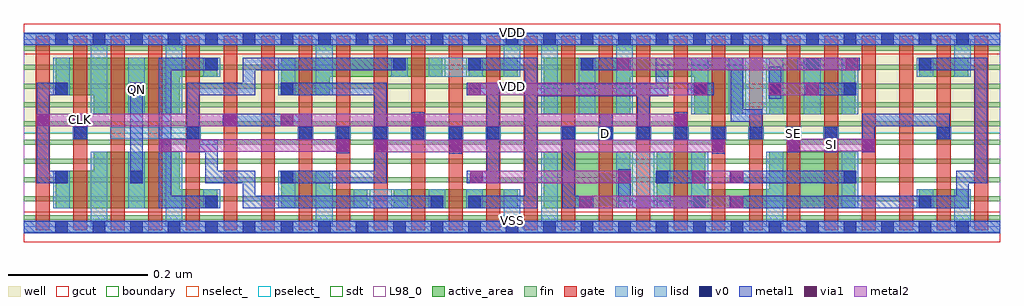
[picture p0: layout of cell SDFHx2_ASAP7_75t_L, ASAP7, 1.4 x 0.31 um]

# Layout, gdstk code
import gdstk
lib = gdstk.Library(unit=1e-6, precision=2.5e-10)
def R(c, l, rs):  # rectangles x0, y0, x1, y1
    for r in rs: c.add(gdstk.rectangle(r[:2], r[2:], *l))
def A(c, l, x, y, w, h, nx, ny, dx, dy):  # array of equal rectangles
    R(c, l, [(x+i*dx, y+j*dy, x+i*dx+w, y+j*dy+h) for i in range(nx) for j in range(ny)])
def P(c, l, *ps):  # polygons
    for p in ps: c.add(gdstk.Polygon(p, *l))
well = (1, 0)
fin = (2, 0)
gate = (7, 0)
gcut = (10, 0)
active_area = (11, 0)
nselect_ = (12, 0)
pselect_ = (13, 0)
lig = (16, 0)
lisd = (17, 0)
v0 = (18, 0)
metal1 = (19, 0)
metal2 = (20, 0)
via1 = (21, 0)
sdt = (88, 0)
L98_0 = (98, 0)
boundary = (100, 0)

sdfhx2_asap7_75t_l = lib.new_cell('SDFHx2_ASAP7_75t_L')
R(sdfhx2_asap7_75t_l, well, [(0,0.135,1.404,0.27)])
A(sdfhx2_asap7_75t_l, fin, 0, 0.01, 1.404, 0.007, 1, 10, 0, 0.027)
A(sdfhx2_asap7_75t_l, gate, 0.017, -0.005, 0.02, 0.28, 26, 1, 0.054, 0)
R(sdfhx2_asap7_75t_l, gcut, [(0,-0.022,1.404,0.022), (0,0.248,1.404,0.292)])
R(sdfhx2_asap7_75t_l, active_area, [(0.532,0.027,0.71,0.054), (0.748,0.027,0.872,0.108), (1.288,0.027,1.358,0.054), (1.072,0.162,1.196,0.243), (0.64,0.216,0.71,0.243), (1.288,0.216,1.358,0.243)])
P(sdfhx2_asap7_75t_l, active_area, [(0.046,0.027),(0.046,0.081),(0.1,0.081),(0.1,0.108),(0.224,0.108),(0.224,0.054),(0.278,0.054),(0.278,0.027)],
  [(0.37,0.027),(0.37,0.081),(0.44,0.081),(0.44,0.054),(0.494,0.054),(0.494,0.027)],
  [(0.91,0.027),(0.91,0.108),(0.98,0.108),(0.98,0.054),(1.072,0.054),(1.072,0.108),(1.196,0.108),(1.196,0.027)],
  [(0.1,0.162),(0.1,0.189),(0.046,0.189),(0.046,0.243),(0.278,0.243),(0.278,0.216),(0.224,0.216),(0.224,0.162)],
  [(0.37,0.189),(0.37,0.243),(0.602,0.243),(0.602,0.216),(0.44,0.216),(0.44,0.189)],
  [(0.748,0.162),(0.748,0.243),(1.034,0.243),(1.034,0.162),(0.964,0.162),(0.964,0.216),(0.872,0.216),(0.872,0.162)])
R(sdfhx2_asap7_75t_l, nselect_, [(0,0,1.404,0.135)])
R(sdfhx2_asap7_75t_l, pselect_, [(0,0.135,1.404,0.27)])
A(sdfhx2_asap7_75t_l, lig, 0.07, 0.126, 0.022, 0.018, 3, 1, 0.162, 0)
A(sdfhx2_asap7_75t_l, lig, 0.448, 0.126, 0.022, 0.018, 5, 1, 0.054, 0)
A(sdfhx2_asap7_75t_l, lig, 0.772, 0.126, 0.022, 0.018, 8, 1, 0.054, 0)
R(sdfhx2_asap7_75t_l, lig, [(0,-0.008,1.404,0.008), (1.312,0.126,1.334,0.144), (0.124,0.127,0.254,0.143), (0,0.262,1.404,0.278)])
A(sdfhx2_asap7_75t_l, lisd, 1.068, 0.162, 0.024, 0.081, 3, 1, 0.054, 0)
R(sdfhx2_asap7_75t_l, lisd, [(0.096,0,0.12,0.108), (0.096,0,0.12,0.108), (0.204,0,0.228,0.108), (0.42,0,0.444,0.081), (0.69,0,0.714,0.054), (0.744,0,0.768,0.108), (0.744,0,0.768,0.108), (1.068,0,1.092,0.108), (1.068,0,1.092,0.108), (1.338,0,1.362,0.054), (0.042,0.027,0.066,0.081), (0.15,0.027,0.174,0.108), (0.258,0.027,0.282,0.054), (0.366,0.027,0.39,0.081), (0.474,0.027,0.552,0.054), (0.582,0.027,0.606,0.054), (0.636,0.027,0.66,0.054), (0.852,0.027,0.93,0.108), (0.906,0.027,0.93,0.108), (0.96,0.027,0.984,0.108), (1.176,0.027,1.2,0.108), (1.284,0.027,1.308,0.054), (0.096,0.162,0.12,0.27), (0.096,0.162,0.12,0.27), (0.15,0.162,0.174,0.243), (0.204,0.162,0.228,0.27), (0.744,0.162,0.768,0.27), (0.744,0.162,0.768,0.27), (0.798,0.162,0.822,0.243), (0.852,0.162,0.876,0.27), (0.96,0.162,0.984,0.243), (1.014,0.162,1.092,0.243), (0.042,0.189,0.066,0.243), (0.366,0.189,0.39,0.243), (0.42,0.189,0.444,0.27), (0.258,0.216,0.282,0.243), (0.528,0.216,0.552,0.243), (0.582,0.216,0.66,0.243), (0.636,0.216,0.66,0.243), (0.69,0.216,0.714,0.27), (1.284,0.216,1.308,0.243), (1.338,0.216,1.362,0.27)])
A(sdfhx2_asap7_75t_l, v0, 0.045, -0.009, 0.018, 0.018, 25, 2, 0.054, 0.27)
A(sdfhx2_asap7_75t_l, v0, 0.639, 0.027, 0.018, 0.018, 3, 1, 0.324, 0)
A(sdfhx2_asap7_75t_l, v0, 0.072, 0.126, 0.018, 0.018, 3, 1, 0.162, 0)
A(sdfhx2_asap7_75t_l, v0, 0.45, 0.126, 0.018, 0.018, 5, 1, 0.054, 0)
A(sdfhx2_asap7_75t_l, v0, 0.774, 0.126, 0.018, 0.018, 8, 1, 0.054, 0)
A(sdfhx2_asap7_75t_l, v0, 0.963, 0.189, 0.018, 0.018, 3, 1, 0.108, 0)
R(sdfhx2_asap7_75t_l, v0, [(0.261,0.027,0.279,0.045), (0.585,0.027,0.603,0.045), (0.045,0.063,0.063,0.081), (0.153,0.063,0.171,0.081), (0.369,0.063,0.387,0.081), (0.909,0.063,0.927,0.081), (1.179,0.063,1.197,0.081), (1.314,0.126,1.332,0.144), (0.045,0.189,0.063,0.207), (0.153,0.189,0.171,0.207), (0.369,0.189,0.387,0.207), (0.261,0.225,0.279,0.243), (0.531,0.225,0.549,0.243), (0.639,0.225,0.657,0.243), (0.801,0.225,0.819,0.243), (1.125,0.225,1.143,0.243), (1.287,0.225,1.305,0.243)])
A(sdfhx2_asap7_75t_l, metal1, 0.639, 0.027, 0.018, 0.018, 3, 1, 0.162, 0)
A(sdfhx2_asap7_75t_l, metal1, 0.072, 0.126, 0.018, 0.018, 3, 1, 0.162, 0)
A(sdfhx2_asap7_75t_l, metal1, 0.45, 0.126, 0.018, 0.018, 5, 1, 0.054, 0)
A(sdfhx2_asap7_75t_l, metal1, 0.774, 0.126, 0.018, 0.018, 8, 1, 0.054, 0)
A(sdfhx2_asap7_75t_l, metal1, 0.963, 0.189, 0.018, 0.018, 3, 1, 0.108, 0)
R(sdfhx2_asap7_75t_l, metal1, [(0,-0.009,1.404,0.009), (0.261,0.027,0.279,0.045), (0.585,0.027,0.603,0.045), (1.015,0.027,1.037,0.045), (1.287,0.027,1.305,0.045), (0.045,0.063,0.063,0.081), (0.153,0.063,0.171,0.081), (0.153,0.063,0.171,0.207), (0.369,0.063,0.387,0.081), (0.369,0.063,0.477,0.081), (0.423,0.063,0.441,0.081), (0.475,0.063,0.497,0.081), (0.637,0.063,0.659,0.081), (0.855,0.063,0.873,0.083), (0.909,0.063,0.927,0.081), (0.909,0.063,0.981,0.081), (0.963,0.063,0.981,0.081), (1.015,0.063,1.037,0.081), (1.017,0.063,1.197,0.081), (1.179,0.063,1.197,0.081), (0.612,0.105,0.63,0.125), (0.99,0.105,1.008,0.125), (0.45,0.106,0.468,0.144), (0.45,0.107,0.468,0.125), (0.504,0.107,0.522,0.125), (0.612,0.107,0.63,0.144), (0.99,0.107,1.008,0.144), (1.098,0.107,1.116,0.144), (1.152,0.107,1.17,0.144), (1.206,0.107,1.224,0.127), (0.194,0.108,0.212,0.126), (1.098,0.109,1.116,0.129), (1.206,0.121,1.224,0.145), (0.072,0.126,0.09,0.163), (0.558,0.126,0.576,0.163), (0.828,0.126,0.846,0.163), (0.936,0.126,0.954,0.163), (1.314,0.126,1.332,0.144), (1.044,0.144,1.062,0.169), (0.018,0.145,0.036,0.163), (0.286,0.145,0.308,0.163), (0.369,0.145,0.387,0.163), (0.558,0.145,0.576,0.165), (0.936,0.145,0.954,0.165), (1.035,0.151,1.062,0.169), (1.071,0.184,1.089,0.207), (0.045,0.189,0.063,0.207), (0.153,0.189,0.171,0.207), (0.369,0.189,0.387,0.207), (0.637,0.189,0.659,0.207), (0.955,0.189,0.992,0.207), (0.963,0.189,0.983,0.207), (1.071,0.189,1.089,0.23), (1.123,0.189,1.145,0.207), (1.125,0.189,1.197,0.207), (0.261,0.225,0.279,0.243), (0.531,0.225,0.549,0.243), (0.639,0.225,0.657,0.243), (0.801,0.225,0.819,0.243), (0.801,0.225,0.873,0.243), (0.855,0.225,0.873,0.243), (1.112,0.225,1.118,0.243), (1.112,0.225,1.202,0.243), (1.125,0.225,1.143,0.243), (1.287,0.225,1.305,0.243), (0,0.261,1.404,0.279)])
P(sdfhx2_asap7_75t_l, metal1, [(0.855,0.027),(0.855,0.063),(0.855,0.081),(0.873,0.081),(0.873,0.045),(0.981,0.045),(0.981,0.027)],
  [(0.194,0.027),(0.194,0.243),(0.279,0.243),(0.279,0.225),(0.212,0.225),(0.212,0.045),(0.279,0.045),(0.279,0.027)],
  [(0.639,0.027),(0.639,0.045),(0.72,0.045),(0.72,0.225),(0.639,0.225),(0.639,0.243),(0.738,0.243),(0.738,0.206),(0.909,0.206),(0.909,0.243),(1.035,0.243),(1.035,0.151),(1.017,0.151),(1.017,0.225),(0.927,0.225),(0.927,0.188),(0.9,0.188),(0.9,0.126),(0.882,0.126),(0.882,0.188),(0.738,0.188),(0.738,0.027)],
  [(0.315,0.027),(0.315,0.063),(0.261,0.063),(0.261,0.107),(0.234,0.107),(0.234,0.207),(0.315,0.207),(0.315,0.243),(0.549,0.243),(0.549,0.225),(0.333,0.225),(0.333,0.189),(0.252,0.189),(0.252,0.125),(0.279,0.125),(0.279,0.081),(0.333,0.081),(0.333,0.045),(0.603,0.045),(0.603,0.027)],
  [(0.018,0.063),(0.018,0.207),(0.063,0.207),(0.063,0.189),(0.036,0.189),(0.036,0.081),(0.063,0.081),(0.063,0.063)],
  [(0.396,0.126),(0.396,0.145),(0.288,0.145),(0.288,0.163),(0.414,0.163),(0.414,0.126)],
  [(0.639,0.063),(0.639,0.081),(0.666,0.081),(0.666,0.189),(0.639,0.189),(0.639,0.207),(0.684,0.207),(0.684,0.063)],
  [(0.477,0.063),(0.477,0.081),(0.504,0.081),(0.504,0.189),(0.369,0.189),(0.369,0.207),(0.522,0.207),(0.522,0.063)],
  [(1.017,0.027),(1.017,0.045),(1.341,0.045),(1.341,0.081),(1.368,0.081),(1.368,0.225),(1.287,0.225),(1.287,0.243),(1.386,0.243),(1.386,0.063),(1.359,0.063),(1.359,0.027)],
  [(0.774,0.027),(0.774,0.144),(0.792,0.144),(0.792,0.045),(0.819,0.045),(0.819,0.027)],
  [(1.314,0.126),(1.314,0.145),(1.206,0.145),(1.206,0.163),(1.332,0.163),(1.332,0.126)])
R(sdfhx2_asap7_75t_l, metal2, [(0.799,0.027,1.035,0.045), (0.642,0.063,0.873,0.081), (0.961,0.063,1.035,0.081), (0.504,0.107,1.008,0.125), (0.194,0.108,0.468,0.126), (1.098,0.109,1.224,0.127), (0.018,0.145,0.306,0.163), (0.369,0.145,0.954,0.163), (0.639,0.189,0.983,0.207), (1.071,0.189,1.143,0.207), (0.853,0.225,1.2,0.243)])
R(sdfhx2_asap7_75t_l, via1, [(0.799,0.027,0.817,0.045), (1.017,0.027,1.035,0.045), (0.642,0.063,0.66,0.081), (0.855,0.063,0.873,0.081), (0.961,0.063,0.979,0.081), (1.017,0.063,1.035,0.081), (0.504,0.107,0.522,0.125), (0.612,0.107,0.63,0.125), (0.99,0.107,1.008,0.125), (0.194,0.108,0.212,0.126), (0.45,0.108,0.468,0.126), (1.098,0.109,1.116,0.127), (1.206,0.109,1.224,0.127), (0.018,0.145,0.036,0.163), (0.288,0.145,0.306,0.163), (0.369,0.145,0.387,0.163), (0.558,0.145,0.576,0.163), (0.936,0.145,0.954,0.163), (0.639,0.189,0.657,0.207), (0.965,0.189,0.983,0.207), (1.071,0.189,1.089,0.207), (1.125,0.189,1.143,0.207), (0.853,0.225,0.871,0.243), (1.182,0.225,1.2,0.243)])
A(sdfhx2_asap7_75t_l, sdt, 0.096, 0.027, 0.024, 0.081, 3, 2, 0.054, 0.135)
A(sdfhx2_asap7_75t_l, sdt, 0.474, 0.027, 0.024, 0.027, 5, 1, 0.054, 0)
A(sdfhx2_asap7_75t_l, sdt, 0.744, 0.162, 0.024, 0.081, 3, 1, 0.054, 0)
A(sdfhx2_asap7_75t_l, sdt, 0.96, 0.162, 0.024, 0.081, 3, 1, 0.054, 0)
A(sdfhx2_asap7_75t_l, sdt, 1.068, 0.162, 0.024, 0.081, 3, 1, 0.054, 0)
A(sdfhx2_asap7_75t_l, sdt, 0.528, 0.216, 0.024, 0.027, 3, 1, 0.054, 0)
R(sdfhx2_asap7_75t_l, sdt, [(0.042,0.027,0.066,0.081), (0.096,0.027,0.12,0.108), (0.258,0.027,0.282,0.054), (0.366,0.027,0.39,0.081), (0.42,0.027,0.444,0.081), (0.744,0.027,0.768,0.108), (0.744,0.027,0.768,0.108), (0.852,0.027,0.876,0.108), (0.906,0.027,0.93,0.108), (0.906,0.027,0.93,0.108), (0.96,0.027,0.984,0.108), (1.068,0.027,1.092,0.108), (1.068,0.027,1.092,0.108), (1.176,0.027,1.2,0.108), (1.284,0.027,1.308,0.054), (1.338,0.027,1.362,0.054), (0.096,0.162,0.12,0.243), (0.744,0.162,0.768,0.243), (0.042,0.189,0.066,0.243), (0.366,0.189,0.39,0.243), (0.42,0.189,0.444,0.243), (0.258,0.216,0.282,0.243), (0.636,0.216,0.66,0.243), (0.69,0.216,0.714,0.243), (1.284,0.216,1.308,0.243), (1.338,0.216,1.362,0.243)])
R(sdfhx2_asap7_75t_l, L98_0, [(0,0,1.404,0.27)])
R(sdfhx2_asap7_75t_l, boundary, [(0,0,1.404,0.27)])
sdfhx2_asap7_75t_l.add(gdstk.Label('VDD', (0.702,0.2025), layer=1, texttype=251))
sdfhx2_asap7_75t_l.add(gdstk.Label('VSS', (0.702,-0.0675), layer=3, texttype=251))
sdfhx2_asap7_75t_l.add(gdstk.Label('SI', (1.161,0.118), layer=19, texttype=251))
sdfhx2_asap7_75t_l.add(gdstk.Label('VSS', (0.702,0.009), layer=19, texttype=251))
sdfhx2_asap7_75t_l.add(gdstk.Label('VDD', (0.702,0.279), layer=19, texttype=251))
sdfhx2_asap7_75t_l.add(gdstk.Label('CLK', (0.081,0.154), layer=19, texttype=251))
sdfhx2_asap7_75t_l.add(gdstk.Label('QN', (0.162,0.198), layer=19, texttype=251))
sdfhx2_asap7_75t_l.add(gdstk.Label('D', (0.837,0.135), layer=19, texttype=251))
sdfhx2_asap7_75t_l.add(gdstk.Label('SE', (1.107,0.135), layer=19, texttype=251))

lib.write_gds('SDFHx2_ASAP7_75t_L.gds')
